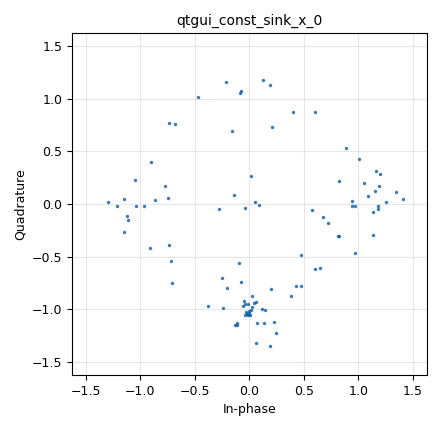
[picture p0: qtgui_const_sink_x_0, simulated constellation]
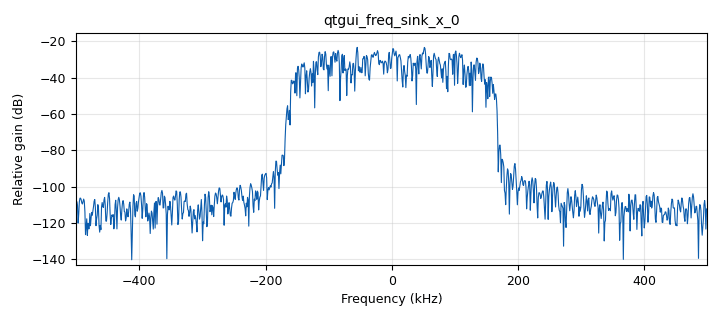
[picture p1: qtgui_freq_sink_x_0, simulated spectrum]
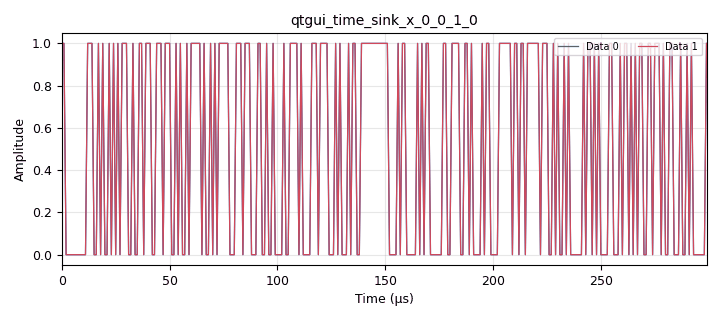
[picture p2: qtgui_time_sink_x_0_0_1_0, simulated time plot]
<?xml version='1.0' encoding='utf-8'?>
<?grc format='1' created='3.7.10'?>
<flow_graph>
<block>
<key>options</key>
<param><key>id</key><value>top_block</value></param>
<param><key>category</key><value>Custom</value></param>
<param><key>generate_options</key><value>qt_gui</value></param>
</block>
<block>
<key>variable</key>
<param><key>id</key><value>EbN0</value></param>
<param><key>value</key><value>100</value></param>
</block>
<block>
<key>variable</key>
<param><key>id</key><value>rolloff</value></param>
<param><key>value</key><value>.35</value></param>
</block>
<block>
<key>variable</key>
<param><key>id</key><value>samp_rate</value></param>
<param><key>value</key><value>1e6</value></param>
</block>
<block>
<key>variable</key>
<param><key>id</key><value>samp_rate_0</value></param>
<param><key>value</key><value>1e6</value></param>
</block>
<block>
<key>variable</key>
<param><key>id</key><value>sps</value></param>
<param><key>value</key><value>4</value></param>
</block>
<block>
<key>analog_noise_source_x</key>
<param><key>id</key><value>analog_noise_source_x_0</value></param>
<param><key>amp</key><value>1.0 / math.sqrt(2*2.0 * digital.constellation_bpsk().bits_per_symbol() * 10**(EbN0/10))</value></param>
<param><key>noise_type</key><value>analog.GR_GAUSSIAN</value></param>
<param><key>type</key><value>complex</value></param>
<param><key>seed</key><value>0</value></param>
</block>
<block>
<key>analog_random_source_x</key>
<param><key>id</key><value>analog_random_source_x_0</value></param>
<param><key>max</key><value>256</value></param>
<param><key>min</key><value>0</value></param>
<param><key>num_samps</key><value>10000</value></param>
<param><key>type</key><value>byte</value></param>
<param><key>repeat</key><value>True</value></param>
</block>
<block>
<key>blks2_error_rate</key>
<param><key>id</key><value>blks2_error_rate_0</value></param>
<param><key>bits_per_symbol</key><value>1</value></param>
<param><key>type</key><value>'BER'</value></param>
<param><key>win_size</key><value>1000000</value></param>
</block>
<block>
<key>blocks_add_xx</key>
<param><key>id</key><value>blocks_add_xx_0</value></param>
<param><key>type</key><value>complex</value></param>
</block>
<block>
<key>blocks_char_to_float</key>
<param><key>id</key><value>blocks_char_to_float_0</value></param>
<param><key>scale</key><value>1</value></param>
</block>
<block>
<key>blocks_char_to_float</key>
<param><key>id</key><value>blocks_char_to_float_0_0</value></param>
<param><key>scale</key><value>1</value></param>
</block>
<block>
<key>blocks_delay</key>
<param><key>id</key><value>blocks_delay_0</value></param>
<param><key>delay</key><value>86</value></param>
<param><key>type</key><value>byte</value></param>
</block>
<block>
<key>blocks_multiply_const_vxx</key>
<param><key>id</key><value>blocks_multiply_const_vxx_0</value></param>
<param><key>const</key><value>1</value></param>
<param><key>type</key><value>complex</value></param>
</block>
<block>
<key>blocks_unpack_k_bits_bb</key>
<param><key>id</key><value>blocks_unpack_k_bits_bb_0</value></param>
<param><key>k</key><value>8</value></param>
</block>
<block>
<key>digital_dxpsk_demod</key>
<param><key>id</key><value>digital_dxpsk_demod_0</value></param>
<param><key>excess_bw</key><value>rolloff</value></param>
<param><key>freq_bw</key><value>6.28/100.0</value></param>
<param><key>mod_code</key><value>"gray"</value></param>
<param><key>log</key><value>False</value></param>
<param><key>phase_bw</key><value>6.28/100.0</value></param>
<param><key>samples_per_symbol</key><value>sps</value></param>
<param><key>sync_out</key><value>False</value></param>
<param><key>timing_bw</key><value>6.28/100.0</value></param>
<param><key>type</key><value>dqpsk</value></param>
<param><key>verbose</key><value>False</value></param>
</block>
<block>
<key>digital_dxpsk_mod</key>
<param><key>id</key><value>digital_dxpsk_mod_0</value></param>
<param><key>excess_bw</key><value>rolloff</value></param>
<param><key>mod_code</key><value>"gray"</value></param>
<param><key>log</key><value>False</value></param>
<param><key>samples_per_symbol</key><value>sps</value></param>
<param><key>type</key><value>dqpsk</value></param>
<param><key>verbose</key><value>False</value></param>
</block>
<block>
<key>import</key>
<param><key>id</key><value>import_0</value></param>
<param><key>import</key><value>import math</value></param>
</block>
<block>
<key>qtgui_const_sink_x</key>
<param><key>id</key><value>qtgui_const_sink_x_0</value></param>
<param><key>autoscale</key><value>True</value></param>
<param><key>grid</key><value>True</value></param>
<param><key>size</key><value>100</value></param>
<param><key>type</key><value>complex</value></param>
</block>
<block>
<key>qtgui_freq_sink_x</key>
<param><key>id</key><value>qtgui_freq_sink_x_0</value></param>
<param><key>autoscale</key><value>True</value></param>
<param><key>bw</key><value>samp_rate</value></param>
<param><key>fc</key><value>0</value></param>
<param><key>fftsize</key><value>1024</value></param>
<param><key>grid</key><value>True</value></param>
<param><key>showports</key><value>True</value></param>
<param><key>type</key><value>complex</value></param>
<param><key>wintype</key><value>firdes.WIN_BLACKMAN_hARRIS</value></param>
</block>
<block>
<key>qtgui_number_sink</key>
<param><key>id</key><value>qtgui_number_sink_0</value></param>
<param><key>autoscale</key><value>True</value></param>
<param><key>graph_type</key><value>qtgui.NUM_GRAPH_HORIZ</value></param>
<param><key>type</key><value>float</value></param>
<param><key>label1</key><value>BER</value></param>
<param><key>max</key><value>1e-5</value></param>
<param><key>min</key><value>0</value></param>
</block>
<block>
<key>qtgui_time_sink_x</key>
<param><key>id</key><value>qtgui_time_sink_x_0</value></param>
<param><key>autoscale</key><value>True</value></param>
<param><key>_enabled</key><value>0</value></param>
<param><key>grid</key><value>True</value></param>
<param><key>color1</key><value>"blue"</value></param>
<param><key>label1</key><value></value></param>
<param><key>size</key><value>200</value></param>
<param><key>srate</key><value>samp_rate</value></param>
<param><key>type</key><value>float</value></param>
<param><key>update_time</key><value>100</value></param>
</block>
<block>
<key>qtgui_time_sink_x</key>
<param><key>id</key><value>qtgui_time_sink_x_0_0_1_0</value></param>
<param><key>autoscale</key><value>True</value></param>
<param><key>grid</key><value>True</value></param>
<param><key>color1</key><value>"blue"</value></param>
<param><key>label1</key><value></value></param>
<param><key>color2</key><value>"red"</value></param>
<param><key>label2</key><value></value></param>
<param><key>nconnections</key><value>2</value></param>
<param><key>size</key><value>300</value></param>
<param><key>srate</key><value>samp_rate</value></param>
<param><key>type</key><value>float</value></param>
<param><key>update_time</key><value>.10</value></param>
</block>
<block>
<key>qtgui_time_sink_x</key>
<param><key>id</key><value>qtgui_time_sink_x_0_0_1_0_0</value></param>
<param><key>autoscale</key><value>True</value></param>
<param><key>_enabled</key><value>0</value></param>
<param><key>grid</key><value>True</value></param>
<param><key>color1</key><value>"blue"</value></param>
<param><key>label1</key><value></value></param>
<param><key>size</key><value>300</value></param>
<param><key>srate</key><value>samp_rate</value></param>
<param><key>type</key><value>float</value></param>
<param><key>update_time</key><value>100</value></param>
</block>
<connection><source_block_id>analog_noise_source_x_0</source_block_id><sink_block_id>blocks_add_xx_0</sink_block_id><source_key>0</source_key><sink_key>0</sink_key></connection>
<connection><source_block_id>analog_random_source_x_0</source_block_id><sink_block_id>blocks_unpack_k_bits_bb_0</sink_block_id><source_key>0</source_key><sink_key>0</sink_key></connection>
<connection><source_block_id>analog_random_source_x_0</source_block_id><sink_block_id>digital_dxpsk_mod_0</sink_block_id><source_key>0</source_key><sink_key>0</sink_key></connection>
<connection><source_block_id>blks2_error_rate_0</source_block_id><sink_block_id>qtgui_number_sink_0</sink_block_id><source_key>0</source_key><sink_key>0</sink_key></connection>
<connection><source_block_id>blocks_add_xx_0</source_block_id><sink_block_id>digital_dxpsk_demod_0</sink_block_id><source_key>0</source_key><sink_key>0</sink_key></connection>
<connection><source_block_id>blocks_char_to_float_0</source_block_id><sink_block_id>qtgui_time_sink_x_0_0_1_0</sink_block_id><source_key>0</source_key><sink_key>0</sink_key></connection>
<connection><source_block_id>blocks_char_to_float_0_0</source_block_id><sink_block_id>qtgui_time_sink_x_0</sink_block_id><source_key>0</source_key><sink_key>0</sink_key></connection>
<connection><source_block_id>blocks_char_to_float_0_0</source_block_id><sink_block_id>qtgui_time_sink_x_0_0_1_0</sink_block_id><source_key>0</source_key><sink_key>1</sink_key></connection>
<connection><source_block_id>blocks_char_to_float_0_0</source_block_id><sink_block_id>qtgui_time_sink_x_0_0_1_0_0</sink_block_id><source_key>0</source_key><sink_key>0</sink_key></connection>
<connection><source_block_id>blocks_delay_0</source_block_id><sink_block_id>blks2_error_rate_0</sink_block_id><source_key>0</source_key><sink_key>0</sink_key></connection>
<connection><source_block_id>blocks_delay_0</source_block_id><sink_block_id>blocks_char_to_float_0</sink_block_id><source_key>0</source_key><sink_key>0</sink_key></connection>
<connection><source_block_id>blocks_multiply_const_vxx_0</source_block_id><sink_block_id>blocks_add_xx_0</sink_block_id><source_key>0</source_key><sink_key>1</sink_key></connection>
<connection><source_block_id>blocks_multiply_const_vxx_0</source_block_id><sink_block_id>qtgui_const_sink_x_0</sink_block_id><source_key>0</source_key><sink_key>0</sink_key></connection>
<connection><source_block_id>blocks_multiply_const_vxx_0</source_block_id><sink_block_id>qtgui_freq_sink_x_0</sink_block_id><source_key>0</source_key><sink_key>0</sink_key></connection>
<connection><source_block_id>blocks_unpack_k_bits_bb_0</source_block_id><sink_block_id>blocks_delay_0</sink_block_id><source_key>0</source_key><sink_key>0</sink_key></connection>
<connection><source_block_id>digital_dxpsk_demod_0</source_block_id><sink_block_id>blks2_error_rate_0</sink_block_id><source_key>0</source_key><sink_key>1</sink_key></connection>
<connection><source_block_id>digital_dxpsk_demod_0</source_block_id><sink_block_id>blocks_char_to_float_0_0</sink_block_id><source_key>0</source_key><sink_key>0</sink_key></connection>
<connection><source_block_id>digital_dxpsk_mod_0</source_block_id><sink_block_id>blocks_multiply_const_vxx_0</sink_block_id><source_key>0</source_key><sink_key>0</sink_key></connection>
</flow_graph>
